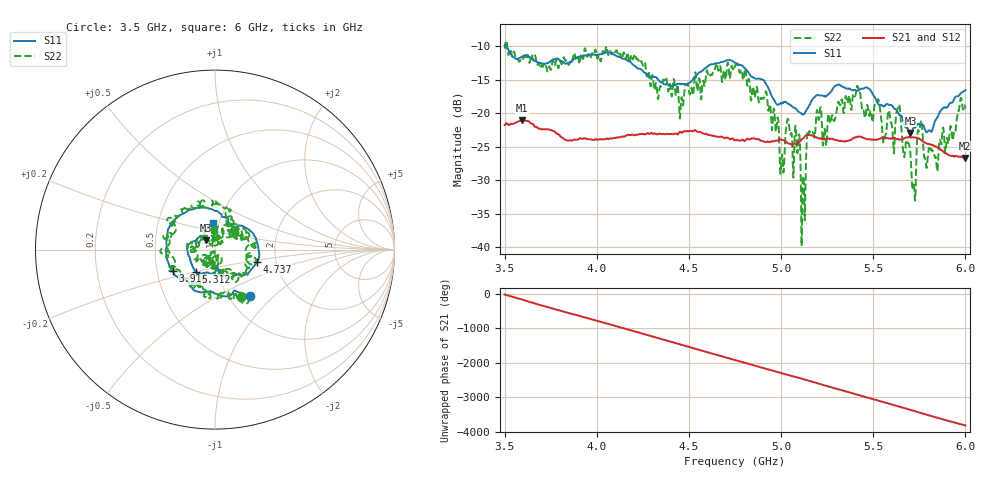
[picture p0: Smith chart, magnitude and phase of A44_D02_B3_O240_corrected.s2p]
! Created with skrf 1.9.0 (http://scikit-rf.org).
# Hz S RI R 50.0
!freq ReS11 ImS11 ReS21 ImS21 ReS12 ImS12 ReS22 ImS22
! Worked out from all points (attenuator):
!   1601 points, 3.5 GHz to 6 GHz, reference 50 ohm
!   highest |S21| = -21.06 dB at 3.594 GHz (marker M1); lowest = -26.7 dB at 5.997 GHz (marker M2)
!   lowest |S11| = -23.0 dB at 5.702 GHz (marker M3), VSWR 1.15, Z = 45.1 + j4.66 ohm
!   |S11| at or under -10 dB: 3.505 GHz to end of sweep
!   |S22| runs from -39.8 to -9.1 dB; largest |S21 - S12| = 0.001
!   S11 on the Smith chart (normalised r, x): 3.5 GHz: 1.25, -0.72; 3.916 GHz: 0.60, -0.16; 4.737 GHz: 1.59, -0.23; 5.312 GHz: 0.78, -0.20; 6 GHz: 0.94, +0.29
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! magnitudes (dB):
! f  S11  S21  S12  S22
! 3.5 GHz  -9.8  -21.7  -21.7  -10.4
! 3.594 GHz  -11.6  -21.1  -21.1  -12.2
! 3.916 GHz  -11.5  -23.8  -23.8  -11.3
! 3.917 GHz  -11.5  -23.8  -23.8  -11.2
! 4.334 GHz  -15.1  -23.1  -23.0  -17.6
! 4.737 GHz  -12.2  -23.8  -23.8  -13.3
! 4.75 GHz  -12.5  -24.1  -24.0  -13.0
! 4.916 GHz  -15.5  -24.3  -24.3  -16.9
! 5.005 GHz  -18.5  -24.0  -24.0  -26.3
! 5.034 GHz  -18.5  -24.4  -24.4  -21.0
! 5.088 GHz  -19.6  -24.5  -24.5  -25.9
! 5.12 GHz  -20.2  -23.7  -23.7  -29.4
! 5.167 GHz  -18.0  -23.3  -23.3  -22.8
! 5.312 GHz  -15.7  -24.1  -24.1  -18.3
! 5.584 GHz  -18.8  -23.8  -23.7  -19.6
! 5.638 GHz  -20.1  -23.9  -23.8  -18.8
! 5.702 GHz  -23.0  -23.6  -23.6  -25.9
! 5.72 GHz  -22.2  -23.6  -23.6  -30.6
! 5.753 GHz  -21.7  -23.9  -23.8  -22.2
! 5.841 GHz  -20.9  -25.0  -24.9  -26.9
! 5.997 GHz  -16.6  -26.7  -26.6  -18.9
! 6 GHz  -16.6  -26.7  -26.6  -19.3
